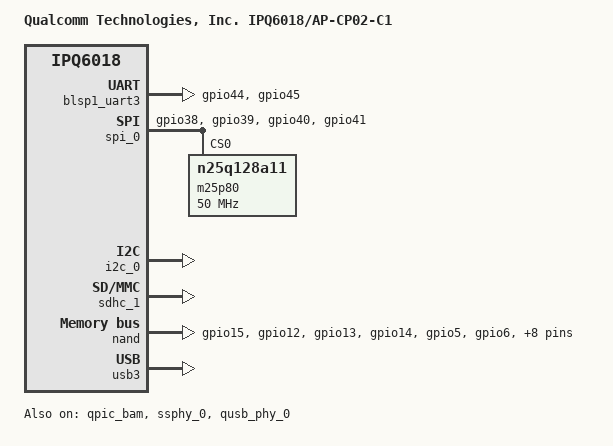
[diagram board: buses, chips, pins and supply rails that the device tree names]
/dts-v1/;
/*
 * Copyright (c) 2019, The Linux Foundation. All rights reserved.
 *
 * Permission to use, copy, modify, and/or distribute this software for any
 * purpose with or without fee is hereby granted, provided that the above
 * copyright notice and this permission notice appear in all copies.
 *
 * THE SOFTWARE IS PROVIDED "AS IS" AND THE AUTHOR DISCLAIMS ALL WARRANTIES
 * WITH REGARD TO THIS SOFTWARE INCLUDING ALL IMPLIED WARRANTIES OF
 * MERCHANTABILITY AND FITNESS. IN NO EVENT SHALL THE AUTHOR BE LIABLE FOR
 * ANY SPECIAL, DIRECT, INDIRECT, OR CONSEQUENTIAL DAMAGES OR ANY DAMAGES
 * WHATSOEVER RESULTING FROM LOSS OF USE, DATA OR PROFITS, WHETHER IN AN
 * ACTION OF CONTRACT, NEGLIGENCE OR OTHER TORTIOUS ACTION, ARISING OUT OF
 * OR IN CONNECTION WITH THE USE OR PERFORMANCE OF THIS SOFTWARE.
 */

#include "qcom-ipq6018.dtsi"

/ {
	#address-cells = <0x2>;
	#size-cells = <0x2>;
	model = "Qualcomm Technologies, Inc. IPQ6018/AP-CP02-C1";
	compatible = "qcom,ipq6018-cp02", "qcom,ipq6018";
	interrupt-parent = <&intc>;

	aliases {
		sdhc1 = &sdhc_1;
	};

	chosen {
		bootargs = "console=ttyMSM0,115200,n8 rw init=/init";
		bootargs-append = " swiotlb=1";
	};
};

&tlmm {
	uart_pins: uart_pins {
		mux {
			pins = "gpio44", "gpio45";
			function = "blsp2_uart";
			drive-strength = <2>;
			bias-pull-up;
		};
	};

	i2c_0_pins: i2c_0_pinmux {
		mux {
			pins = "gpio46", "gpio47";
			function = "blsp5_i2c";
			drive-strength = <2>;
			bias-pull-up;
		};
	};

	spi_0_pins: spi_0_pins {
		mux {
			pins = "gpio38", "gpio39", "gpio40", "gpio41";
			function = "blsp0_spi";
			drive-strength = <8>;
			bias-pull-down;
		};
	};

	qpic_pins: qpic_pins {
		data_0 {
			pins = "gpio15";
			function = "qpic_pad0";
			drive-strength = <2>;
			bias-pull-down;
		};
		data_1 {
			pins = "gpio12";
			function = "qpic_pad1";
			drive-strength = <2>;
			bias-pull-down;
		};
		data_2 {
			pins = "gpio13";
			function = "qpic_pad2";
			drive-strength = <2>;
			bias-pull-down;
		};
		data_3 {
			pins = "gpio14";
			function = "qpic_pad3";
			drive-strength = <2>;
			bias-pull-down;
		};
		data_4 {
			pins = "gpio5";
			function = "qpic_pad4";
			drive-strength = <2>;
			bias-pull-down;
		};
		data_5 {
			pins = "gpio6";
			function = "qpic_pad5";
			drive-strength = <2>;
			bias-pull-down;
		};
		data_6 {
			pins = "gpio7";
			function = "qpic_pad6";
			drive-strength = <2>;
			bias-pull-down;
		};
		data_7 {
			pins = "gpio8";
			function = "qpic_pad7";
			drive-strength = <2>;
			bias-pull-down;
		};
		qpic_pad {
			pins = "gpio1", "gpio3", "gpio4",
			       "gpio10", "gpio11", "gpio17";
			function = "qpic_pad";
			drive-strength = <2>;
			bias-pull-down;
		};
	};

	button_pins: button_pins {
		wps_button {
			pins = "gpio9";
			function = "gpio";
			drive-strength = <2>;
			bias-pull-down;
		};
	};
};

&blsp1_uart3 {
	pinctrl-0 = <&uart_pins>;
	pinctrl-names = "default";
	status = "ok";
};

&spi_0 {
	pinctrl-0 = <&spi_0_pins>;
	pinctrl-names = "default";
	cs-select = <0>;
	status = "ok";

	m25p80@0 {
		#address-cells = <1>;
		#size-cells = <1>;
		reg = <0>;
		compatible = "n25q128a11";
		linux,modalias = "m25p80", "n25q128a11";
		spi-max-frequency = <50000000>;
		use-default-sizes;
	};
};

&i2c_0 {
	status = "ok";
};

&sdhc_1 {
	qcom,clk-rates = <400000 25000000 50000000 100000000 \
			 192000000 384000000>;
	qcom,bus-speed-mode = "HS200_1p8v", "DDR_1p8v";
	qcom,nonremovable;
	status = "ok";
};

&qpic_bam {
	status = "ok";
};

&nand {
	pinctrl-0 = <&qpic_pins>;
	pinctrl-names = "default";
	status = "ok";
};

&ssphy_0 {
	status = "ok";
};

&qusb_phy_0 {
	status = "ok";
};

&usb3 {
	status = "ok";
};
